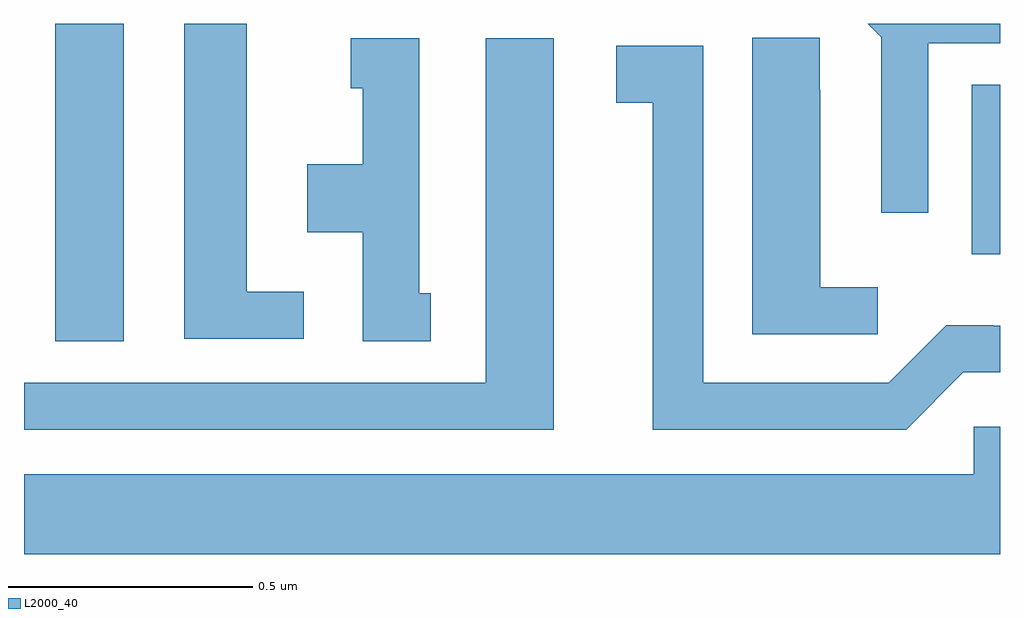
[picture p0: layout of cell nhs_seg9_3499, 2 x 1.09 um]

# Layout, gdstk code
import gdstk
lib = gdstk.Library(unit=1e-6, precision=1e-09)
def R(c, l, rs):  # rectangles x0, y0, x1, y1
    for r in rs: c.add(gdstk.rectangle(r[:2], r[2:], *l))
def P(c, l, *ps):  # polygons
    for p in ps: c.add(gdstk.Polygon(p, *l))
L2000_40 = (2000, 40)

nhs_seg9_3499 = lib.new_cell('nhs_seg9_3499')
R(nhs_seg9_3499, L2000_40, [(154.064,1204.849,154.204,1205.5), (155.942,1205.027,156,1205.375)])
P(nhs_seg9_3499, L2000_40, [(154.573,1204.95),(154.456,1204.95),(154.456,1205.5),(154.328,1205.5),(154.328,1204.854),(154.573,1204.854)],
  [(155.853,1205.46),(156,1205.46),(156,1205.5),(155.729,1205.5),(155.757,1205.472),(155.757,1205.112),(155.853,1205.112)],
  [(155.749,1204.96),(155.632,1204.96),(155.632,1205.363),(155.631,1205.363),(155.631,1205.471),(155.492,1205.471),(155.492,1204.863),(155.749,1204.863)],
  [(154.834,1204.947),(154.81,1204.947),(154.81,1205.47),(154.67,1205.47),(154.67,1205.367),(154.694,1205.367),(154.694,1205.212),(154.58,1205.212),(154.58,1205.072),(154.694,1205.072),(154.694,1204.849),(154.834,1204.849)],
  [(155.086,1205.47),(154.946,1205.47),(154.946,1204.764),(154,1204.764),(154,1204.668),(155.086,1204.668)],
  [(155.925,1204.785),(156,1204.785),(156,1204.881),(155.986,1204.881),(155.986,1204.882),(155.89,1204.882),(155.772,1204.764),(155.392,1204.764),(155.392,1205.454),(155.214,1205.454),(155.214,1205.338),(155.288,1205.338),(155.288,1204.668),(155.808,1204.668)],
  [(156,1204.674),(155.946,1204.674),(155.946,1204.576),(154,1204.576),(154,1204.412),(156,1204.412)])

lib.write_gds('nhs_seg9_3499.gds')
